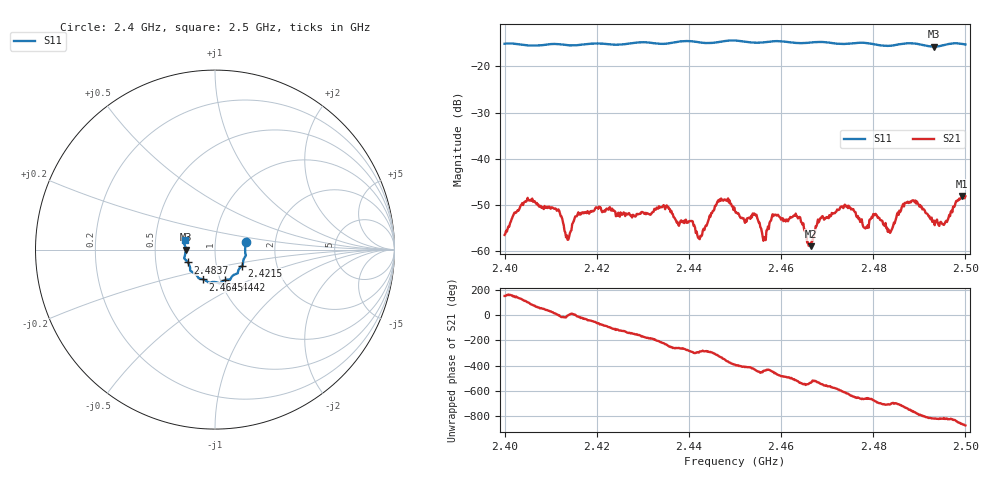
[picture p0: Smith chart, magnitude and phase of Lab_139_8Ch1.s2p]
# Hz S RI R 50
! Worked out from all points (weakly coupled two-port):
!   601 points, 2.4 GHz to 2.5 GHz, reference 50 ohm
!   highest |S21| = -48.00 dB at 2.4993 GHz (marker M1); lowest = -58.9 dB at 2.4665 GHz (marker M2)
!   lowest |S11| = -15.7 dB at 2.4932 GHz (marker M3), VSWR 1.39, Z = 35.9 - j0.0566 ohm
!   |S11| at or under -10 dB: start of sweep to end of sweep
!   S12 and S22 are empty: the file has one direction only
!   S11 on the Smith chart (normalised r, x): 2.4 GHz: 1.41, +0.12; 2.4215 GHz: 1.33, -0.25; 2.4442 GHz: 1.05, -0.37; 2.4645 GHz: 0.83, -0.29; 2.4837 GHz: 0.73, -0.11; 2.5 GHz: 0.71, +0.07
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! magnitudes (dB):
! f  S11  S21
! 2.4 GHz  -15.1  -56.4
! 2.4055 GHz  -15.5  -49.0
! 2.4115 GHz  -15.2  -51.1
! 2.4137 GHz  -15.4  -57.5
! 2.4167 GHz  -15.3  -51.6
! 2.4215 GHz  -15.1  -51.4
! 2.4333 GHz  -15.1  -50.8
! 2.4423 GHz  -14.8  -57.4
! 2.4442 GHz  -15.0  -53.5
! 2.45 GHz  -14.4  -51.2
! 2.4563 GHz  -14.8  -57.2
! 2.4585 GHz  -14.5  -52.1
! 2.4645 GHz  -15.0  -53.8
! 2.4665 GHz  -14.8  -58.9
! 2.4667 GHz  -14.8  -57.8
! 2.4735 GHz  -15.1  -50.6
! 2.4833 GHz  -15.6  -55.3
! 2.4837 GHz  -15.5  -56.0
! 2.4883 GHz  -15.0  -49.1
! 2.4932 GHz  -15.7  -53.3
! 2.4993 GHz  -15.1  -48.0
! 2.5 GHz  -15.3  -48.1
